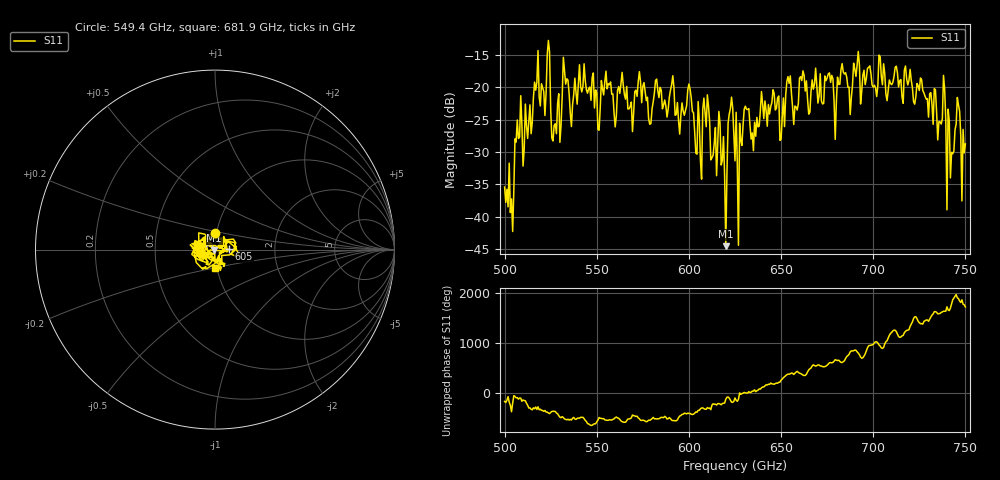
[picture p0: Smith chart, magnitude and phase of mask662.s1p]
!Created with skrf (http://scikit-rf.org).
# GHz S MA R 50.0
!freq magS11 angS11
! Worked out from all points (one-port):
!   401 points, 500 GHz to 750 GHz, reference 50 ohm
!   lowest |S11| = -44.5 dB at 620 GHz (marker M1), VSWR 1.01, Z = 49.6 - j0.402 ohm
!   |S11| at or under -10 dB: start of sweep to end of sweep
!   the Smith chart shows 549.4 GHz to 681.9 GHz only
!   S11 on the Smith chart (normalised r, x): 549.4 GHz: 0.98, +0.19; 605 GHz: 1.17, +0.00; 681.9 GHz: 0.97, -0.21
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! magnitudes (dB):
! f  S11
! 500 GHz  -35.4
! 503.8 GHz  -37.3
! 507.5 GHz  -27.9
! 511.2 GHz  -22.6
! 516.9 GHz  -20.5
! 523.8 GHz  -12.8
! 526.9 GHz  -25.9
! 531.2 GHz  -21.4
! 549.4 GHz  -20.4
! 562.5 GHz  -21.0
! 593.8 GHz  -22.4
! 600.6 GHz  -20.3
! 605 GHz  -22.2
! 609.4 GHz  -26.1
! 620 GHz  -44.5
! 622.5 GHz  -23.3
! 625 GHz  -31.4
! 627.5 GHz  -25.6
! 631.2 GHz  -23.4
! 635 GHz  -29.8
! 656.2 GHz  -23.1
! 681.9 GHz  -19.6
! 687.5 GHz  -24.2
! 718.8 GHz  -19.7
! 738.1 GHz  -18.2
! 741.2 GHz  -25.2
! 745.6 GHz  -21.6
! 750 GHz  -28.8
